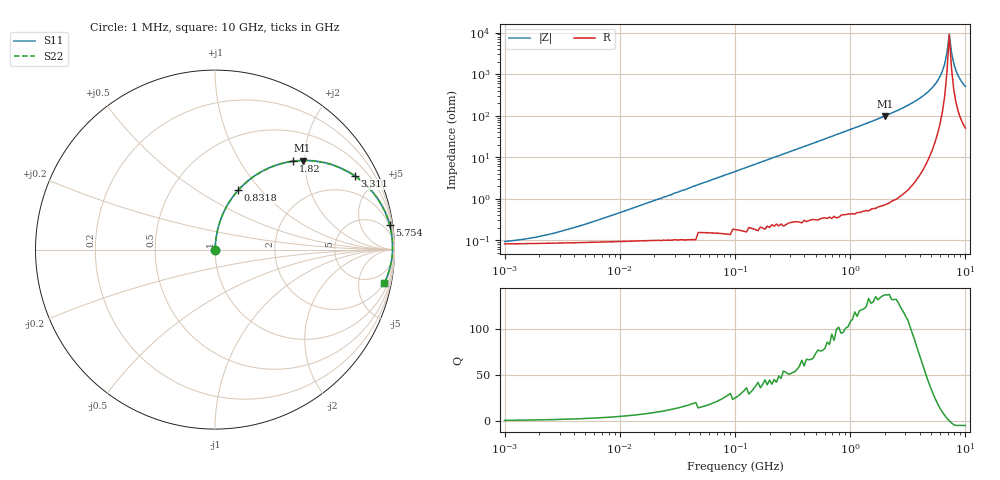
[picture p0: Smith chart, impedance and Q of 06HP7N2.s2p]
# MHz S MA R 50
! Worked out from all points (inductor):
!   201 points, 1 MHz to 10 GHz, reference 50 ohm
!   read as one part in series: L = 7.2 nH near 6.026 MHz
!   highest Q = 137 at 1.995 GHz (marker M1), where L = 7.79 nH
!   self-resonance near 7.244 GHz
!   S11 on the Smith chart (normalised r, x): 1 MHz: 1.00, +0.00; 831.8 MHz: 1.01, +0.76; 1.82 GHz: 1.01, +1.76; 3.311 GHz: 1.03, +3.79; 5.754 GHz: 2, +14; 10 GHz: 2, -10
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1  0.0007767 35.6  0.999 -0.0  0.999 -0.0  0.0007767 35.6
1.995  0.001128 53.0  0.999 -0.1  0.999 -0.1  0.001128 53.0
4.786  0.002295 70.4  0.999 -0.1  0.999 -0.1  0.002295 70.4
21.878  0.009941 83.4  0.999 -0.6  0.999 -0.6  0.009941 83.4
104.713  0.047 85.3  0.997 -2.7  0.997 -2.7  0.047 85.3
478.63  0.212 77.0  0.974 -12.2  0.974 -12.2  0.212 77.0
831.764  0.355 68.6  0.931 -20.8  0.931 -20.8  0.355 68.6
1202.264  0.486 60.4  0.87 -29.1  0.87 -29.1  0.486 60.4
1819.701  0.658 48.5  0.748 -41.1  0.748 -41.1  0.658 48.5
1995.262  0.696 45.5  0.713 -44.1  0.713 -44.1  0.696 45.5
2187.762  0.734 42.4  0.674 -47.2  0.674 -47.2  0.734 42.4
3311.311  0.881 27.7  0.465 -61.7  0.465 -61.7  0.881 27.7
4570.882  0.955 16.1  0.278 -72.7  0.278 -72.7  0.955 16.1
5754.399  0.983 8.0  0.14 -78.9  0.14 -78.9  0.983 8.0
6309.573  0.988 4.8  0.084 -79.2  0.084 -79.2  0.988 4.8
6606.934  0.989 3.2  0.057 -77.3  0.057 -77.3  0.989 3.2
6918.31  0.989 1.6  0.03 -68.6  0.03 -68.6  0.989 1.6
7244.36  0.989 0.0  0.011 -2.6  0.011 -2.6  0.989 0.0
7585.776  0.988 -1.6  0.03 64.8  0.03 64.8  0.988 -1.6
7943.282  0.986 -3.1  0.056 73.7  0.056 73.7  0.986 -3.1
8709.636  0.979 -6.3  0.111 75.9  0.111 75.9  0.979 -6.3
10000  0.962 -11.0  0.192 73.2  0.192 73.2  0.962 -11.0
